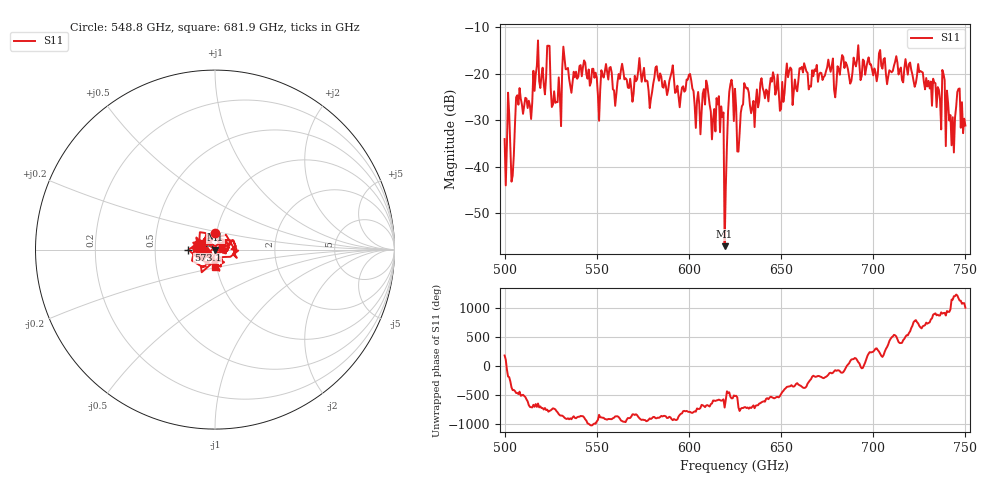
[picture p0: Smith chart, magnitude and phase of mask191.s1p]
!Created with skrf (http://scikit-rf.org).
# GHz S MA R 50.0
!freq magS11 angS11
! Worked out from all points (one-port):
!   401 points, 500 GHz to 750 GHz, reference 50 ohm
!   lowest |S11| = -57.1 dB at 619.4 GHz (marker M1), VSWR 1.00, Z = 50.1 + j0.00656 ohm
!   |S11| at or under -10 dB: start of sweep to end of sweep
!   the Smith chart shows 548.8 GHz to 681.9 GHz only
!   S11 on the Smith chart (normalised r, x): 548.8 GHz: 0.99, +0.18; 573.1 GHz: 0.74, -0.00; 681.9 GHz: 0.98, -0.19
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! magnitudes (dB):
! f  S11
! 500 GHz  -34.1
! 504.4 GHz  -42.0
! 507.5 GHz  -26.7
! 513.8 GHz  -26.9
! 516.9 GHz  -20.2
! 523.8 GHz  -14.0
! 526.9 GHz  -23.8
! 531.2 GHz  -18.9
! 548.8 GHz  -20.9
! 562.5 GHz  -21.1
! 573.1 GHz  -16.6
! 593.8 GHz  -22.6
! 600 GHz  -20.2
! 605 GHz  -23.9
! 616.2 GHz  -24.8
! 619.4 GHz  -57.1
! 620.6 GHz  -35.5
! 622.5 GHz  -22.2
! 625 GHz  -23.2
! 627.5 GHz  -32.9
! 631.2 GHz  -23.2
! 634.4 GHz  -27.3
! 656.2 GHz  -26.7
! 681.9 GHz  -20.2
! 687.5 GHz  -22.1
! 718.8 GHz  -20.2
! 746.9 GHz  -23.2
! 750 GHz  -31.2
